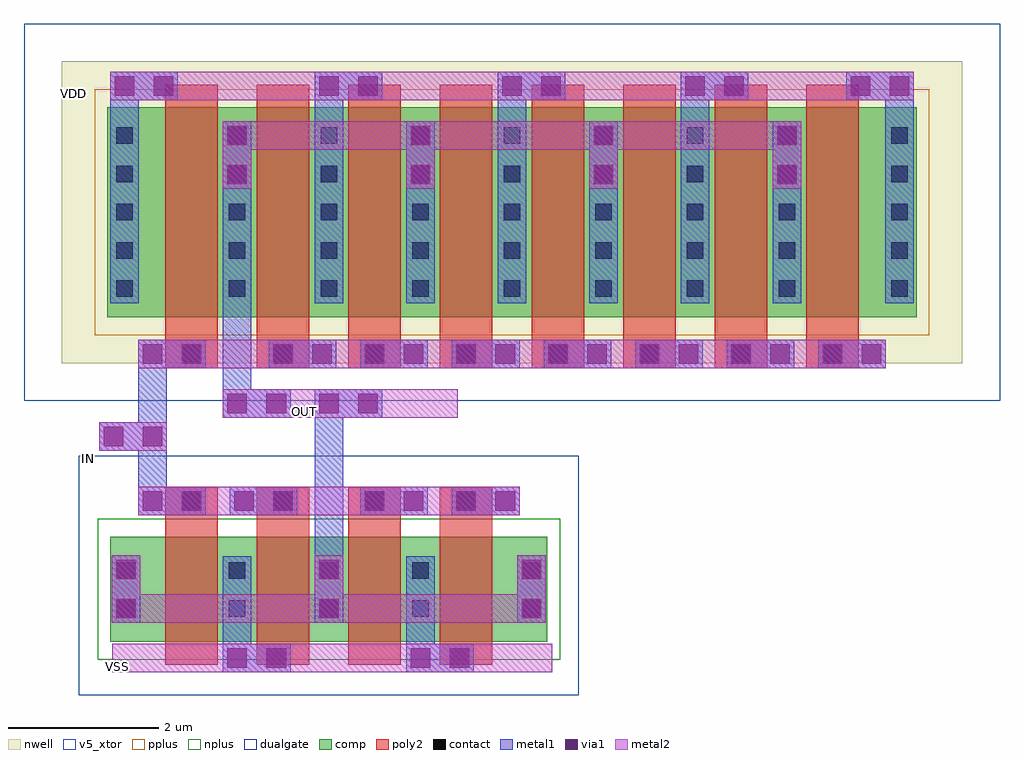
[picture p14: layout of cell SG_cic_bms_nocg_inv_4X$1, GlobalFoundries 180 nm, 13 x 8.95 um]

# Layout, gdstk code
import gdstk
lib = gdstk.Library(unit=1e-6, precision=5e-09)
def R(c, l, rs):  # rectangles x0, y0, x1, y1
    for r in rs: c.add(gdstk.rectangle(r[:2], r[2:], *l))
def A(c, l, x, y, w, h, nx, ny, dx, dy):  # array of equal rectangles
    R(c, l, [(x+i*dx, y+j*dy, x+i*dx+w, y+j*dy+h) for i in range(nx) for j in range(ny)])
nwell = (21, 0)
comp = (22, 0)
poly2 = (30, 0)
pplus = (31, 0)
nplus = (32, 0)
contact = (33, 0)
metal1 = (34, 0)
via1 = (35, 0)
metal2 = (36, 0)
dualgate = (55, 0)
v5_xtor = (112, 1)

nfet_1_1_1 = lib.new_cell('nfet$1$1$1')
R(nfet_1_1_1, comp, [(-0.42,0,0,1.4), (0,0,4.98,1.4), (4.98,0,5.4,1.4)])
A(nfet_1_1_1, poly2, 0.31, -0.3, 0.7, 2, 4, 1, 1.22, 0)
A(nfet_1_1_1, poly2, 0.31, 1.7, 0.7, 0.36, 4, 1, 1.22, 0)
R(nfet_1_1_1, nplus, [(-0.59,-0.24,5.57,1.64)])
A(nfet_1_1_1, contact, 1.16, 0.335, 0.22, 0.22, 3, 2, 1.22, 0.51)
A(nfet_1_1_1, contact, 0.55, 1.77, 0.22, 0.22, 4, 1, 1.22, 0)
R(nfet_1_1_1, contact, [(-0.32,0.335,-0.1,0.555), (5.08,0.335,5.3,0.555), (-0.32,0.845,-0.1,1.065), (5.08,0.845,5.3,1.065)])
A(nfet_1_1_1, metal1, 1.08, 0.255, 0.38, 0.89, 3, 1, 1.22, 0)
A(nfet_1_1_1, metal1, 0.47, 1.69, 0.38, 0.38, 4, 1, 1.22, 0)
R(nfet_1_1_1, metal1, [(-0.4,0.255,-0.02,1.145), (5,0.255,5.38,1.145)])
R(nfet_1_1_1, dualgate, [(-0.84,-0.71,5.82,2.48)])
R(nfet_1_1_1, v5_xtor, [(-0.84,-0.71,5.82,2.48)])

pfet_4_6 = lib.new_cell('pfet$4$6')
R(pfet_4_6, nwell, [(-1.07,-0.61,10.93,3.41)])
R(pfet_4_6, comp, [(-0.46,0,0,2.8), (0,0,9.86,2.8), (9.86,0,10.32,2.8)])
A(pfet_4_6, poly2, 0.31, -0.68, 0.7, 0.38, 8, 1, 1.22, 0)
A(pfet_4_6, poly2, 0.31, -0.3, 0.7, 3.4, 8, 1, 1.22, 0)
R(pfet_4_6, pplus, [(-0.63,-0.24,10.49,3.04)])
A(pfet_4_6, contact, 0.55, -0.6, 0.22, 0.22, 8, 1, 1.22, 0)
A(pfet_4_6, contact, -0.34, 0.27, 0.22, 0.22, 1, 5, 0, 0.51)
A(pfet_4_6, contact, 1.16, 0.27, 0.22, 0.22, 7, 5, 1.22, 0.51)
A(pfet_4_6, contact, 9.98, 0.27, 0.22, 0.22, 1, 5, 0, 0.51)
A(pfet_4_6, metal1, 0.47, -0.68, 0.38, 0.38, 8, 1, 1.22, 0)
A(pfet_4_6, metal1, 1.08, 0.19, 0.38, 2.42, 7, 1, 1.22, 0)
R(pfet_4_6, metal1, [(-0.42,0.19,-0.04,2.61), (9.9,0.19,10.28,2.61)])
R(pfet_4_6, dualgate, [(-1.57,-1.11,11.43,3.91), (-0.88,-1.09,10.74,3.51)])
R(pfet_4_6, v5_xtor, [(-1.57,-1.11,11.43,3.91), (-0.88,-1.09,10.74,3.51)])

sg_cic_bms_nocg_inv_4x_1 = lib.new_cell('SG_cic_bms_nocg_inv_4X$1')
A(sg_cic_bms_nocg_inv_4x_1, metal1, 0.81, 0.66, 0.38, 0.9, 3, 1, 2.7, 0)
A(sg_cic_bms_nocg_inv_4x_1, metal1, 2.9, 4.05, 0.9, 0.38, 7, 1, 1.22, 0)
A(sg_cic_bms_nocg_inv_4x_1, metal1, 2.29, 6.44, 0.38, 0.9, 4, 1, 2.44, 0)
A(sg_cic_bms_nocg_inv_4x_1, metal1, 3.51, 7.62, 0.9, 0.38, 3, 1, 2.44, 0)
R(sg_cic_bms_nocg_inv_4x_1, metal1, [(2.29,0,3.19,0.38), (4.73,0,5.63,0.38), (1.16,2.095,2.06,2.475), (2.38,2.095,3.28,2.475), (4.12,2.095,5.02,2.475), (5.34,2.095,6.24,2.475), (0.64,2.955,1.54,3.335), (2.29,3.39,3.19,3.77), (3.51,3.39,4.41,3.77), (1.16,4.05,2.06,4.43), (0.79,7.62,1.69,8), (10.59,7.62,11.49,8)])
A(sg_cic_bms_nocg_inv_4x_1, via1, 0.87, 0.72, 0.26, 0.26, 3, 2, 2.7, 0.52)
A(sg_cic_bms_nocg_inv_4x_1, via1, 2.35, 6.5, 0.26, 0.26, 4, 2, 2.44, 0.52)
R(sg_cic_bms_nocg_inv_4x_1, via1, [(2.35,0.06,2.61,0.32), (2.87,0.06,3.13,0.32), (4.79,0.06,5.05,0.32), (5.31,0.06,5.57,0.32), (1.22,2.155,1.48,2.415), (1.74,2.155,2,2.415), (2.44,2.155,2.7,2.415), (2.96,2.155,3.22,2.415), (4.18,2.155,4.44,2.415), (4.7,2.155,4.96,2.415), (5.4,2.155,5.66,2.415), (5.92,2.155,6.18,2.415), (0.7,3.015,0.96,3.275), (1.22,3.015,1.48,3.275), (2.35,3.45,2.61,3.71), (2.87,3.45,3.13,3.71), (3.57,3.45,3.83,3.71), (4.09,3.45,4.35,3.71), (1.22,4.11,1.48,4.37), (1.74,4.11,2,4.37), (2.96,4.11,3.22,4.37), (3.48,4.11,3.74,4.37), (4.18,4.11,4.44,4.37), (4.7,4.11,4.96,4.37), (5.4,4.11,5.66,4.37), (5.92,4.11,6.18,4.37), (6.62,4.11,6.88,4.37), (7.14,4.11,7.4,4.37), (7.84,4.11,8.1,4.37), (8.36,4.11,8.62,4.37), (9.06,4.11,9.32,4.37), (9.58,4.11,9.84,4.37), (10.28,4.11,10.54,4.37), (10.8,4.11,11.06,4.37), (0.85,7.68,1.11,7.94), (1.37,7.68,1.63,7.94), (3.57,7.68,3.83,7.94), (4.09,7.68,4.35,7.94), (6.01,7.68,6.27,7.94), (6.53,7.68,6.79,7.94), (8.45,7.68,8.71,7.94), (8.97,7.68,9.23,7.94), (10.65,7.68,10.91,7.94), (11.17,7.68,11.43,7.94)])
A(sg_cic_bms_nocg_inv_4x_1, metal2, 0.81, 0.66, 0.38, 0.9, 3, 1, 2.7, 0)
A(sg_cic_bms_nocg_inv_4x_1, metal2, 2.9, 4.05, 0.9, 0.38, 7, 1, 1.22, 0)
A(sg_cic_bms_nocg_inv_4x_1, metal2, 2.29, 6.44, 0.38, 0.9, 4, 1, 2.44, 0)
A(sg_cic_bms_nocg_inv_4x_1, metal2, 3.51, 7.62, 0.9, 0.38, 3, 1, 2.44, 0)
R(sg_cic_bms_nocg_inv_4x_1, metal2, [(2.29,0,3.19,0.38), (4.73,0,5.63,0.38), (1.16,2.095,2.06,2.475), (2.38,2.095,3.28,2.475), (4.12,2.095,5.02,2.475), (5.34,2.095,6.24,2.475), (0.64,2.955,1.54,3.335), (2.29,3.39,3.19,3.77), (3.51,3.39,4.41,3.77), (1.16,4.05,2.06,4.43), (0.79,7.62,1.69,8), (10.59,7.62,11.49,8)])
sg_cic_bms_nocg_inv_4x_1.add(gdstk.FlexPath([(0.98,4.92),(0.98,8)], 0.38, ends="flush", simple_path=True, layer=34, datatype=0))  # metal1
sg_cic_bms_nocg_inv_4x_1.add(gdstk.FlexPath([(2.48,7.34),(2.48,3.39)], 0.38, ends="flush", simple_path=True, layer=34, datatype=0))  # metal1
sg_cic_bms_nocg_inv_4x_1.add(gdstk.FlexPath([(2.48,1.55),(2.48,0)], 0.38, ends="flush", simple_path=True, layer=34, datatype=0))  # metal1
sg_cic_bms_nocg_inv_4x_1.add(gdstk.FlexPath([(3.7,4.92),(3.7,8)], 0.38, ends="flush", simple_path=True, layer=34, datatype=0))  # metal1
sg_cic_bms_nocg_inv_4x_1.add(gdstk.FlexPath([(4.92,1.55),(4.92,0)], 0.38, ends="flush", simple_path=True, layer=34, datatype=0))  # metal1
sg_cic_bms_nocg_inv_4x_1.add(gdstk.FlexPath([(3.7,0.66),(3.7,3.77)], 0.38, ends="flush", simple_path=True, layer=34, datatype=0))  # metal1
sg_cic_bms_nocg_inv_4x_1.add(gdstk.FlexPath([(11.3,4.92),(11.3,8)], 0.38, ends="flush", simple_path=True, layer=34, datatype=0))  # metal1
sg_cic_bms_nocg_inv_4x_1.add(gdstk.FlexPath([(8.58,4.92),(8.58,8)], 0.38, ends="flush", simple_path=True, layer=34, datatype=0))  # metal1
sg_cic_bms_nocg_inv_4x_1.add(gdstk.FlexPath([(6.14,4.92),(6.14,8)], 0.38, ends="flush", simple_path=True, layer=34, datatype=0))  # metal1
sg_cic_bms_nocg_inv_4x_1.add(gdstk.FlexPath([(1.35,2.095),(1.35,4.43)], 0.38, ends="flush", simple_path=True, layer=34, datatype=0))  # metal1
sg_cic_bms_nocg_inv_4x_1.add(gdstk.FlexPath([(2.29,3.58),(5.415,3.58)], 0.38, ends="flush", simple_path=True, layer=36, datatype=0))  # metal2
sg_cic_bms_nocg_inv_4x_1.add(gdstk.FlexPath([(0.81,0.85),(6.59,0.85)], 0.38, ends="flush", simple_path=True, layer=36, datatype=0))  # metal2
sg_cic_bms_nocg_inv_4x_1.add(gdstk.FlexPath([(1.68,2.285),(5.72,2.285)], 0.38, ends="flush", simple_path=True, layer=36, datatype=0))  # metal2
sg_cic_bms_nocg_inv_4x_1.add(gdstk.FlexPath([(1.68,4.24),(10.6,4.24)], 0.38, ends="flush", simple_path=True, layer=36, datatype=0))  # metal2
sg_cic_bms_nocg_inv_4x_1.add(gdstk.FlexPath([(2.29,7.15),(9.99,7.15)], 0.38, ends="flush", simple_path=True, layer=36, datatype=0))  # metal2
sg_cic_bms_nocg_inv_4x_1.add(gdstk.FlexPath([(0.815,0.19),(6.675,0.19)], 0.38, ends="flush", simple_path=True, layer=36, datatype=0))  # metal2
sg_cic_bms_nocg_inv_4x_1.add(gdstk.FlexPath([(0.79,7.81),(11.49,7.81)], 0.38, ends="flush", simple_path=True, layer=36, datatype=0))  # metal2
sg_cic_bms_nocg_inv_4x_1.add(gdstk.Reference(nfet_1_1_1, (1.21,0.405)))
sg_cic_bms_nocg_inv_4x_1.add(gdstk.Reference(pfet_4_6, (1.21,4.73)))
sg_cic_bms_nocg_inv_4x_1.add(gdstk.Label('VSS', (0.89,0.085), layer=34, texttype=10))
sg_cic_bms_nocg_inv_4x_1.add(gdstk.Label('VDD', (0.295,7.715), layer=34, texttype=10))
sg_cic_bms_nocg_inv_4x_1.add(gdstk.Label('OUT', (3.38,3.48), layer=36, texttype=10))
sg_cic_bms_nocg_inv_4x_1.add(gdstk.Label('IN', (0.5,2.855), layer=36, texttype=10))

lib.write_gds('SG_cic_bms_nocg_inv_4X_1.gds')
